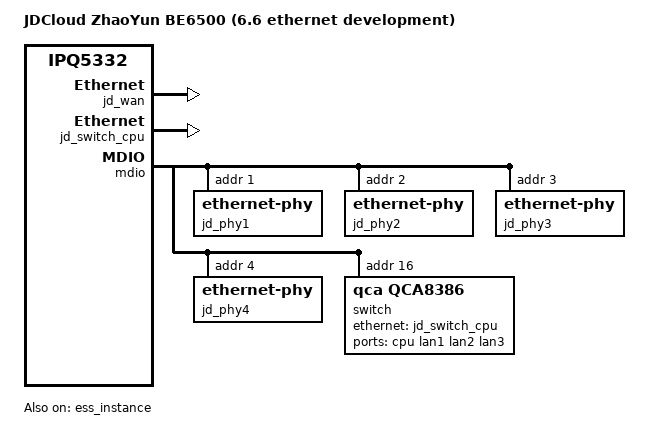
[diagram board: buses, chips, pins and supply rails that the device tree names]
// SPDX-License-Identifier: (GPL-2.0+ OR BSD-3-Clause)
/* Static development candidate, NOT hardware-validated or flashable.
 * Wiring: captured BE6500 QWRT DTB. New phylink/DSA binding pattern:
 * QSDK e313f146 ipq5332-rdp468.dts (same MPPE + QCA8386 topology).
 * Logical LAN port numbers still require physical-jack verification.
 */
#include "ipq5332-jdcloud-be6500-core.dts"
#include "ipq5332-mht-edma-development.dtsi"

/ {
	model = "JDCloud ZhaoYun BE6500 (6.6 ethernet development)";
	be6500,port-stage = "ethernet-only-not-boot-validated";
	aliases {
		/* References resolve to /soc@0, unlike old literal /soc paths. */
		ethernet0 = &jd_wan;
		ethernet1 = &jd_switch_cpu;
	};
	soc@0 {
		jd_wan: ethernet@3a504000 {
			device_type = "network";
			compatible = "qcom,nss-dp";
			reg = <0x3a504000 0x4000>;
			qcom,id = <2>;
			qcom,mactype = <1>;
			status = "okay";
			/* New NSS-DP obtains PHY from SSDK port 2. No old link-poll.
			 * Factory MAC retrieval must be resolved before hardware use;
			 * never copy reference/zero MAC addresses into a real router.
			 */
		};
		jd_switch_cpu: ethernet@3a500000 {
			device_type = "network";
			compatible = "qcom,nss-dp";
			reg = <0x3a500000 0x4000>;
			qcom,id = <1>;
			qcom,mactype = <1>;
			qcom,mht-dev = <1>;
			qcom,is_switch_connected = <1>;
			qcom,ppe-offload-disabled = <1>;
			status = "okay";
		};
	};
};

&mdio {
	#address-cells = <1>;
	#size-cells = <0>;
	pinctrl-0 = <&mdio1_pins &mdio0_pins>;
	pinctrl-names = "default";
	/* The old SSDK only consumed the number. The 6.6 MDIO driver also obtains
	 * this GPIO through gpiod and requires active-low to assert low/release
	 * high, as in the pinned native QSDK board. Do not copy the old flag 0.
	 */
	phy-reset-gpio = <&tlmm 51 GPIO_ACTIVE_LOW>;
	phyaddr_fixup = <0x0c90f018>;
	uniphyaddr_fixup = <0x0c90f014>;
	mdio_clk_fixup;
	status = "okay";

	jd_phy1: ethernet-phy@1 { reg = <1>; fixup; };
	jd_phy2: ethernet-phy@2 { reg = <2>; fixup; };
	jd_phy3: ethernet-phy@3 { reg = <3>; fixup; };
	jd_phy4: ethernet-phy@4 { reg = <4>; fixup; };

	/* QSDK qca8k handles LAN netdevices/VLANs; SSDK provides the linked
	 * PHY/serdes configuration below. Do not add a swconfig owner as well.
	 */
	switch@10 {
		compatible = "qca,qca8386";
		reg = <0x10>;
		#address-cells = <1>;
		#size-cells = <0>;
		ports {
			#address-cells = <1>;
			#size-cells = <0>;
			port@0 {
				reg = <0>;
				label = "cpu";
				ethernet = <&jd_switch_cpu>;
				dsa-tag-protocol = "qca_8021q";
			};
			port@1 {
				reg = <1>; label = "lan1";
				phy-handle = <&jd_phy1>; phy-mode = "internal";
			};
			port@2 {
				reg = <2>; label = "lan2";
				phy-handle = <&jd_phy2>; phy-mode = "internal";
			};
			port@3 {
				reg = <3>; label = "lan3";
				phy-handle = <&jd_phy3>; phy-mode = "internal";
			};
		};
	};
};

&ess_instance {
	num_devices = <2>;
	status = "okay";
	ess-switch@3a000000 {
		mdio-bus = <&mdio>;
		switch_cpu_bmp = <0x1>;
		switch_lan_bmp = <0x2>;
		switch_wan_bmp = <0x4>;
		switch_mac_mode = <0xc>;
		switch_mac_mode1 = <0xf>;
		switch_mac_mode2 = <0xff>;
		qcom,port_phyinfo {
			port@0 {
				port_id = <1>;
				forced-speed = <2500>;
				forced-duplex = <1>;
				switch_external {
					switch_handle = <&jd_mht>;
					switch_cpu_port = <0>;
				};
				fixed-link { speed = <2500>; full-duplex; pause; };
			};
			port@1 {
				port_id = <2>;
				phy_address = <4>;
				phy-handle = <&jd_phy4>;
				phy-mode = "sgmii";
			};
		};
		led_source@5 {
			source = <5>; mode = "normal"; speed = "all";
			blink_en = "enable"; active = "high";
		};
	};
	jd_mht: ess-switch1@1 {
		compatible = "qcom,ess-switch-qca8386";
		device_id = <1>;
		switch_access_mode = "mdio";
		mdio-bus = <&mdio>;
		switch_mac_mode = <0xc>;
		switch_mac_mode1 = <0xff>;
		switch_cpu_bmp = <0x1>;
		switch_lan_bmp = <0xe>;
		switch_wan_bmp = <0x0>;
		link-polling-required = <0>;
		fdb_sync = "interrupt";
		link-intr-gpio = <&tlmm 23 GPIO_ACTIVE_HIGH>;
		qcom,port_phyinfo {
			port@0 { port_id = <0>; forced-speed = <2500>; forced-duplex = <1>; };
			port@1 { port_id = <1>; phy_address = <1>; };
			port@2 { port_id = <2>; phy_address = <2>; };
			port@3 { port_id = <3>; phy_address = <3>; };
		};
		led_source@2 {
			source = <2>; mode = "normal"; speed = "all";
			blink_en = "enable"; active = "high";
		};
		led_source@5 {
			source = <5>; mode = "normal"; speed = "all";
			blink_en = "enable"; active = "high";
		};
		led_source@8 {
			source = <8>; mode = "normal"; speed = "all";
			blink_en = "enable"; active = "high";
		};
	};
};

&{/soc@0/nss-ppe} { status = "okay"; };
